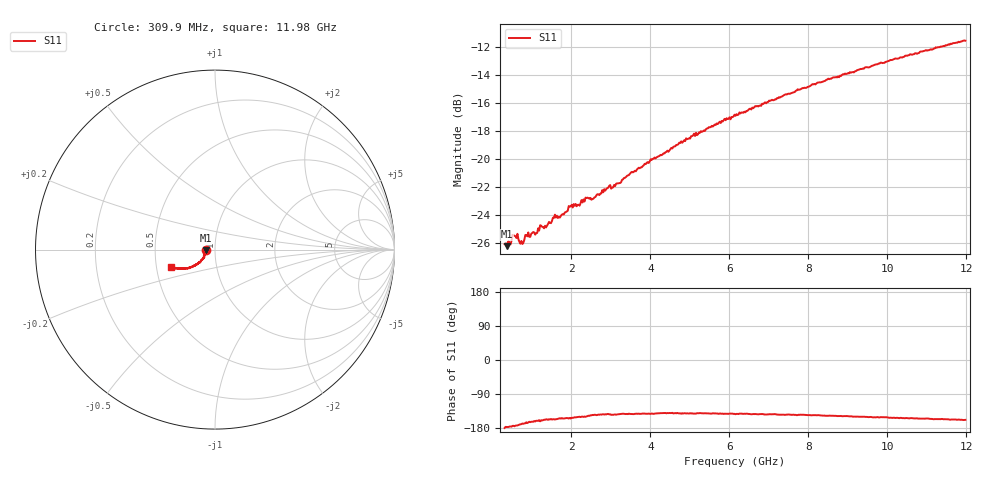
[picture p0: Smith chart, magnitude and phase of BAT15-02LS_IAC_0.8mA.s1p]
! Infineon Technologies  Discrete & RF Semiconductors
! BAT15-02ELS
! IAC = 0.8 mA
! One-Port S-Parameters
# Hz  S  MA  R  50
!f  S11
!Hz  Mag  Ang
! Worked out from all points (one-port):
!   468 points, 309.9 MHz to 11.98 GHz, reference 50 ohm
!   lowest |S11| = -26.2 dB at 359.8 MHz (marker M1), VSWR 1.10, Z = 45.3 - j0.25 ohm
!   |S11| at or under -10 dB: start of sweep to end of sweep
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3.0985e8  0.04966 -179.4
3.59825e8  0.04888 -176.8
4.098e8  0.05104 -176.8
5.347375e8  0.05345 -173.6
5.847125e8  0.05303 -173.2
7.0965e8  0.04988 -169.8
7.59625e8  0.04977 -167.6
8.59575e8  0.05353 -164.4
1.134438e9  0.05448 -160.5
1.2094e9  0.05805 -161.8
1.359325e9  0.05701 -156.4
1.584212e9  0.06331 -157.0
1.70915e9  0.06182 -153.7
1.784112e9  0.06361 -154.4
1.984012e9  0.06772 -154.4
2.183912e9  0.0687 -150.0
2.4088e9  0.07281 -148.1
2.558725e9  0.07218 -145.3
2.933538e9  0.07894 -142.4
3.058475e9  0.07921 -144.7
3.233388e9  0.08208 -142.8
3.483262e9  0.08858 -142.3
4.70765e9  0.1128 -140.6
6.156925e9  0.1425 -143.1
7.6062e9  0.1726 -144.6
9.080462e9  0.2031 -148.5
1.052974e10  0.2342 -153.8
1.197901e10  0.2641 -158.0
